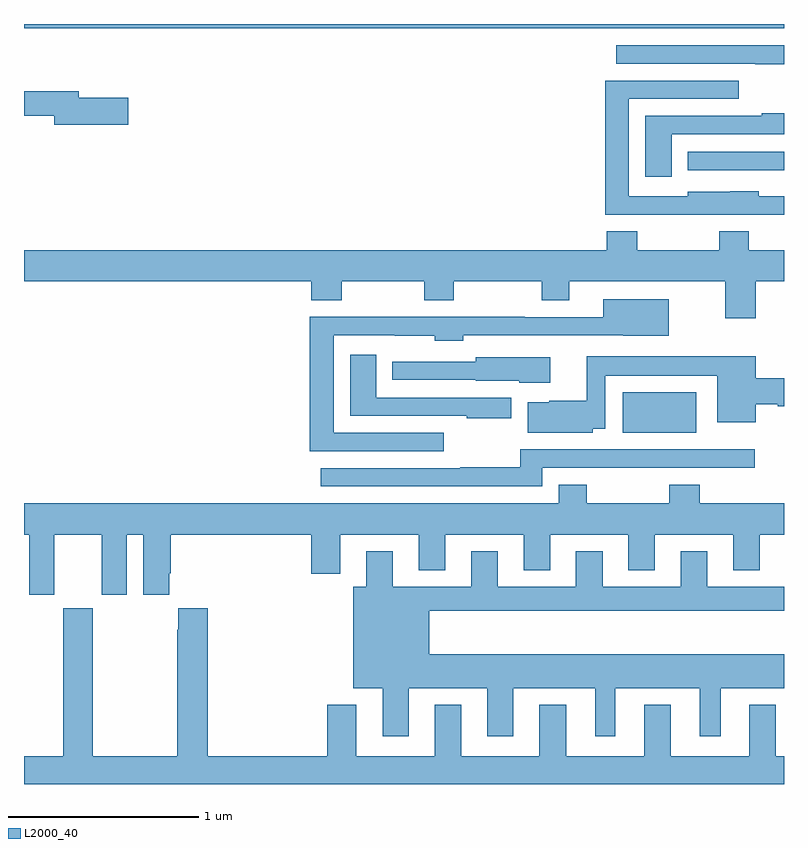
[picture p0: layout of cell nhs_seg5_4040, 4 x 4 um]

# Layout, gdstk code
import gdstk
lib = gdstk.Library(unit=1e-6, precision=1e-09)
def R(c, l, rs):  # rectangles x0, y0, x1, y1
    for r in rs: c.add(gdstk.rectangle(r[:2], r[2:], *l))
def P(c, l, *ps):  # polygons
    for p in ps: c.add(gdstk.Polygon(p, *l))
L2000_40 = (2000, 40)

nhs_seg5_4040 = lib.new_cell('nhs_seg5_4040')
R(nhs_seg5_4040, L2000_40, [(352.151,838.649,352.537,838.861), (352.493,840.03,353,840.126), (349,840.776,353,840.799)])
P(nhs_seg5_4040, L2000_40, [(353,840.687),(352.116,840.687),(352.116,840.591),(352.849,840.591),(352.849,840.586),(353,840.586)],
  [(352.494,839.796),(352.866,839.796),(352.866,839.795),(353,839.795),(353,839.892),(352.866,839.892),(352.866,839.92),(352.716,839.92),(352.716,839.917),(352.494,839.917),(352.494,839.892),(352.183,839.892),(352.183,840.405),(352.762,840.405),(352.762,840.501),(352.058,840.501),(352.058,839.795),(352.494,839.795)],
  [(349.549,840.411),(349.288,840.411),(349.288,840.445),(349,840.445),(349,840.316),(349.16,840.316),(349.16,840.269),(349.549,840.269)],
  [(352.408,840.219),(353,840.219),(353,840.328),(352.883,840.328),(352.883,840.315),(352.271,840.315),(352.271,839.994),(352.408,839.994)],
  [(352.85,839.444),(353,839.444),(353,839.608),(352.815,839.608),(352.815,839.707),(352.66,839.707),(352.66,839.608),(352.227,839.608),(352.227,839.707),(352.067,839.707),(352.067,839.608),(349,839.608),(349,839.444),(350.513,839.444),(350.513,839.345),(350.673,839.345),(350.673,839.444),(351.106,839.444),(351.106,839.345),(351.261,839.345),(351.261,839.444),(351.724,839.444),(351.724,839.345),(351.871,839.345),(351.871,839.444),(352.69,839.444),(352.69,839.25),(352.85,839.25)],
  [(351.208,838.647),(350.629,838.647),(350.629,839.16),(350.95,839.16),(350.95,839.159),(351.162,839.159),(351.162,839.132),(351.312,839.132),(351.312,839.16),(352.153,839.16),(352.153,839.159),(352.393,839.159),(352.393,839.35),(352.049,839.35),(352.049,839.256),(351.635,839.256),(351.635,839.258),(350.504,839.258),(350.504,838.551),(351.208,838.551)],
  [(351.565,838.833),(350.854,838.833),(350.854,839.059),(350.717,839.059),(350.717,838.737),(351.329,838.737),(351.329,838.724),(351.565,838.724)],
  [(351.993,838.67),(352.059,838.67),(352.059,838.949),(352.649,838.949),(352.649,838.703),(352.852,838.703),(352.852,838.799),(352.968,838.799),(352.968,838.787),(353,838.787),(353,838.934),(352.852,838.934),(352.852,839.05),(351.962,839.05),(351.962,838.816),(351.765,838.816),(351.765,838.807),(351.65,838.807),(351.65,838.649),(351.993,838.649)],
  [(351.769,839.044),(351.378,839.044),(351.378,839.022),(350.939,839.022),(350.939,838.926),(351.378,838.926),(351.378,838.922),(351.606,838.922),(351.606,838.911),(351.769,838.911)],
  [(351.727,838.464),(352.051,838.464),(352.051,838.463),(352.307,838.463),(352.307,838.464),(352.846,838.464),(352.846,838.561),(352.597,838.561),(352.597,838.56),(351.613,838.56),(351.613,838.466),(351.295,838.466),(351.295,838.461),(350.562,838.461),(350.562,838.365),(351.727,838.365)],
  [(349.159,838.112),(349.409,838.112),(349.409,837.795),(349.54,837.795),(349.54,838.112),(349.628,838.112),(349.628,837.795),(349.765,837.795),(349.765,837.907),(349.772,837.907),(349.772,838.112),(350.513,838.112),(350.513,837.906),(350.665,837.906),(350.665,838.112),(351.077,838.112),(351.077,837.923),(351.217,837.923),(351.217,838.112),(351.629,838.112),(351.629,837.923),(351.769,837.923),(351.769,838.112),(352.181,838.112),(352.181,837.923),(352.321,837.923),(352.321,838.112),(352.733,838.112),(352.733,837.923),(352.873,837.923),(352.873,838.112),(353,838.112),(353,838.276),(352.556,838.276),(352.556,838.375),(352.396,838.375),(352.396,838.276),(351.963,838.276),(351.963,838.375),(351.815,838.375),(351.815,838.276),(349,838.276),(349,838.112),(349.028,838.112),(349.028,837.795),(349.159,837.795)],
  [(351.025,837.302),(351.437,837.302),(351.437,837.051),(351.574,837.051),(351.574,837.302),(352.007,837.302),(352.007,837.051),(352.111,837.051),(352.111,837.302),(352.556,837.302),(352.556,837.051),(352.666,837.051),(352.666,837.302),(353,837.302),(353,837.481),(351.133,837.481),(351.133,837.71),(353,837.71),(353,837.838),(352.597,837.838),(352.597,838.024),(352.457,838.024),(352.457,837.838),(352.045,837.838),(352.045,838.024),(351.905,838.024),(351.905,837.838),(351.493,837.838),(351.493,838.024),(351.353,838.024),(351.353,837.838),(350.941,837.838),(350.941,838.024),(350.801,838.024),(350.801,837.838),(350.732,837.838),(350.732,837.302),(350.888,837.302),(350.888,837.051),(351.025,837.051)],
  [(353,836.944),(352.957,836.944),(352.957,837.217),(352.817,837.217),(352.817,836.944),(352.405,836.944),(352.405,837.217),(352.265,837.217),(352.265,836.944),(351.853,836.944),(351.853,837.217),(351.713,837.217),(351.713,836.944),(351.301,836.944),(351.301,837.217),(351.161,837.217),(351.161,836.944),(350.749,836.944),(350.749,837.217),(350.597,837.217),(350.597,836.944),(349.967,836.944),(349.967,837.724),(349.811,837.724),(349.811,837.611),(349.807,837.611),(349.807,836.944),(349.362,836.944),(349.362,837.724),(349.207,837.724),(349.207,836.944),(349,836.944),(349,836.799),(353,836.799)])

lib.write_gds('nhs_seg5_4040.gds')
